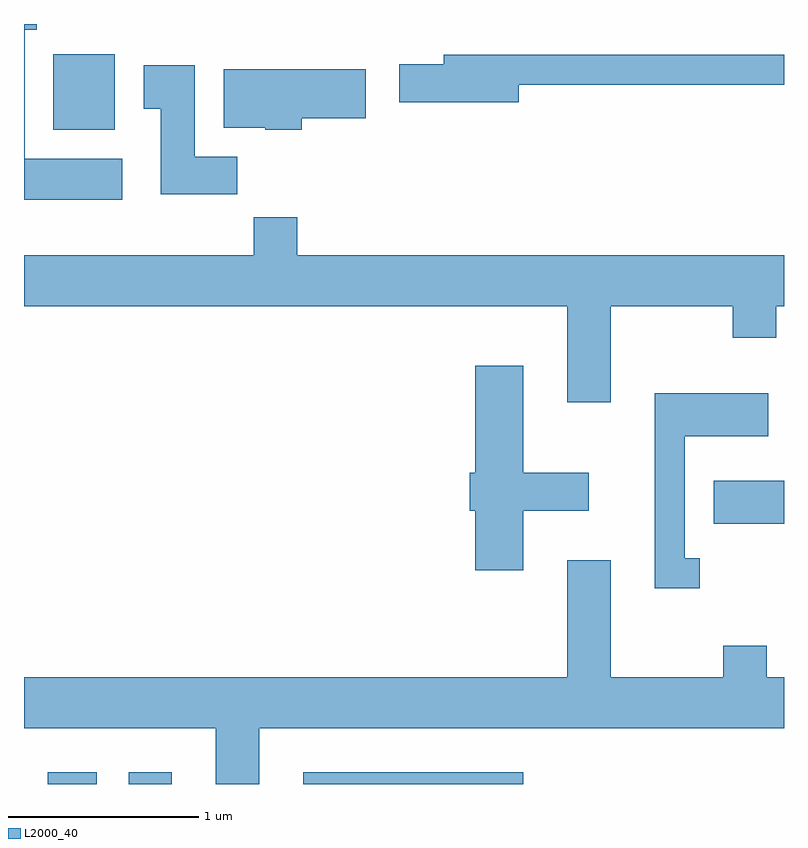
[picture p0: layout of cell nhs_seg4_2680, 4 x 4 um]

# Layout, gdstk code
import gdstk
lib = gdstk.Library(unit=1e-6, precision=1e-09)
def R(c, l, rs):  # rectangles x0, y0, x1, y1
    for r in rs: c.add(gdstk.rectangle(r[:2], r[2:], *l))
def P(c, l, *ps):  # polygons
    for p in ps: c.add(gdstk.Polygon(p, *l))
L2000_40 = (2000, 40)

nhs_seg4_2680 = lib.new_cell('nhs_seg4_2680')
R(nhs_seg4_2680, L2000_40, [(263.736,1309.982,263.994,1310.044), (264.161,1309.982,264.389,1310.044), (265.081,1309.982,266.238,1310.044), (267.241,1311.351,267.611,1311.579), (263.766,1313.426,264.089,1313.824)])
P(nhs_seg4_2680, L2000_40, [(264.129,1313.274),(263.614,1313.274),(263.614,1313.951),(263.678,1313.951),(263.678,1313.982),(263.611,1313.982),(263.611,1313.056),(264.129,1313.056)],
  [(266.214,1313.661),(267.611,1313.661),(267.611,1313.819),(265.821,1313.819),(265.821,1313.769),(265.586,1313.769),(265.586,1313.571),(266.214,1313.571)],
  [(264.734,1313.284),(264.509,1313.284),(264.509,1313.764),(264.241,1313.764),(264.241,1313.536),(264.331,1313.536),(264.331,1313.086),(264.734,1313.086)],
  [(265.074,1313.486),(265.409,1313.486),(265.409,1313.744),(264.661,1313.744),(264.661,1313.436),(264.88,1313.436),(264.88,1313.426),(265.074,1313.426)],
  [(266.699,1312.496),(267.341,1312.496),(267.341,1312.331),(267.569,1312.331),(267.569,1312.496),(267.611,1312.496),(267.611,1312.764),(265.049,1312.764),(265.049,1312.964),(264.821,1312.964),(264.821,1312.764),(263.611,1312.764),(263.611,1312.496),(266.471,1312.496),(266.471,1311.991),(266.699,1311.991)],
  [(266.239,1311.421),(266.584,1311.421),(266.584,1311.619),(266.239,1311.619),(266.239,1312.184),(265.986,1312.184),(265.986,1311.619),(265.956,1311.619),(265.956,1311.421),(265.986,1311.421),(265.986,1311.106),(266.239,1311.106)],
  [(267.168,1311.169),(267.089,1311.169),(267.089,1311.811),(267.529,1311.811),(267.529,1312.039),(266.931,1312.039),(266.931,1311.011),(267.168,1311.011)],
  [(264.849,1310.276),(267.611,1310.276),(267.611,1310.544),(267.519,1310.544),(267.519,1310.709),(267.291,1310.709),(267.291,1310.544),(266.699,1310.544),(266.699,1311.159),(266.471,1311.159),(266.471,1310.544),(263.611,1310.544),(263.611,1310.276),(264.621,1310.276),(264.621,1309.982),(264.849,1309.982)])

lib.write_gds('nhs_seg4_2680.gds')
